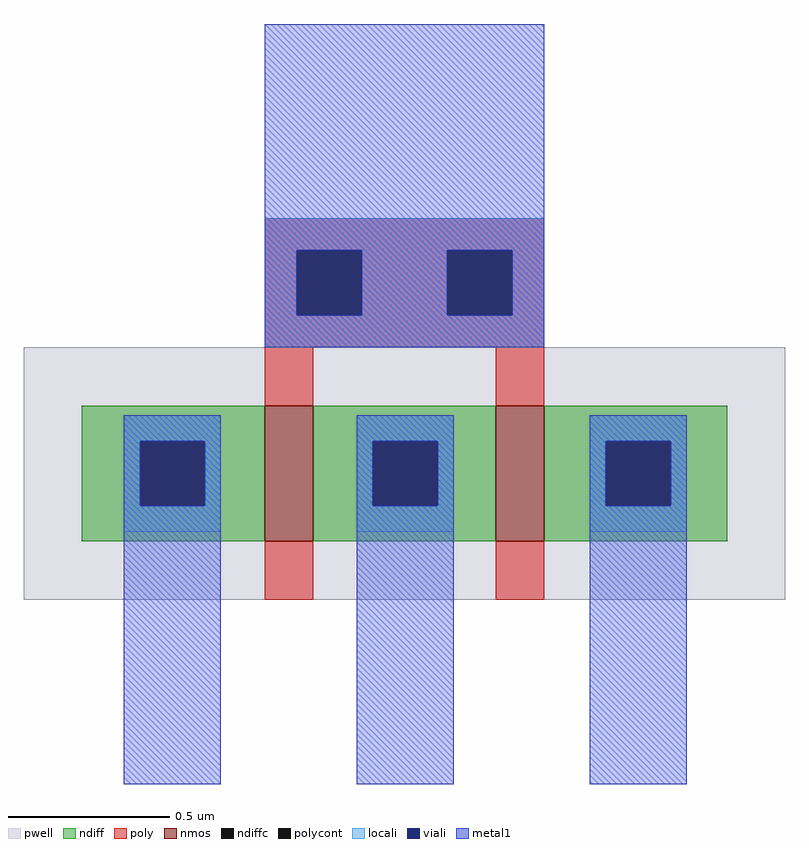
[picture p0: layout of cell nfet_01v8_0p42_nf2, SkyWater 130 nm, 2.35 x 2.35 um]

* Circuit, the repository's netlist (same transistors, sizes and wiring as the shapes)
* NGSPICE file created from nfet_01v8_0p42_nf2.ext - technology: sky130A

.subckt nfet_01v8_0p42_nf2
X0 a_143_0# a_113_n36# a_0_0# VSUBS sky130_fd_pr__nfet_01v8 ad=0.119 pd=0.985 as=0.237 ps=1.97 w=0.42 l=0.15
X1 a_286_0# a_113_n36# a_143_0# VSUBS sky130_fd_pr__nfet_01v8 ad=0.237 pd=1.97 as=0.119 ps=0.985 w=0.42 l=0.15
.ends

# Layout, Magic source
magic
tech sky130A
magscale 1 2
<< pwell >>
rect -92 401 379 557
<< nmos >>
rect 57 437 87 521
rect 200 437 230 521
<< ndiff >>
rect -56 499 57 521
rect -56 459 -20 499
rect 20 459 57 499
rect -56 437 57 459
rect 87 499 200 521
rect 87 459 124 499
rect 164 459 200 499
rect 87 437 200 459
rect 230 499 343 521
rect 230 459 268 499
rect 308 459 343 499
rect 230 437 343 459
<< ndiffc >>
rect -20 459 20 499
rect 124 459 164 499
rect 268 459 308 499
<< poly >>
rect 57 617 230 637
rect 57 577 77 617
rect 117 577 170 617
rect 210 577 230 617
rect 57 557 230 577
rect 57 521 87 557
rect 200 521 230 557
rect 57 401 87 437
rect 200 401 230 437
<< polycont >>
rect 77 577 117 617
rect 170 577 210 617
<< locali >>
rect 57 617 230 637
rect 57 577 77 617
rect 117 577 170 617
rect 210 577 230 617
rect 57 557 230 577
rect -30 499 30 515
rect -30 459 -20 499
rect 20 459 30 499
rect -30 443 30 459
rect 114 499 174 515
rect 114 459 124 499
rect 164 459 174 499
rect 114 443 174 459
rect 258 499 318 515
rect 258 459 268 499
rect 308 459 318 499
rect 258 443 318 459
<< viali >>
rect 77 577 117 617
rect 170 577 210 617
rect -20 459 20 499
rect 124 459 164 499
rect 268 459 308 499
<< metal1 >>
rect 57 617 230 757
rect 57 577 77 617
rect 117 577 170 617
rect 210 577 230 617
rect 57 557 230 577
rect -30 499 30 515
rect -30 459 -20 499
rect 20 459 30 499
rect -30 287 30 459
rect 114 499 174 515
rect 114 459 124 499
rect 164 459 174 499
rect 114 287 174 459
rect 258 499 318 515
rect 258 459 268 499
rect 308 459 318 499
rect 258 287 318 459
<< end >>
